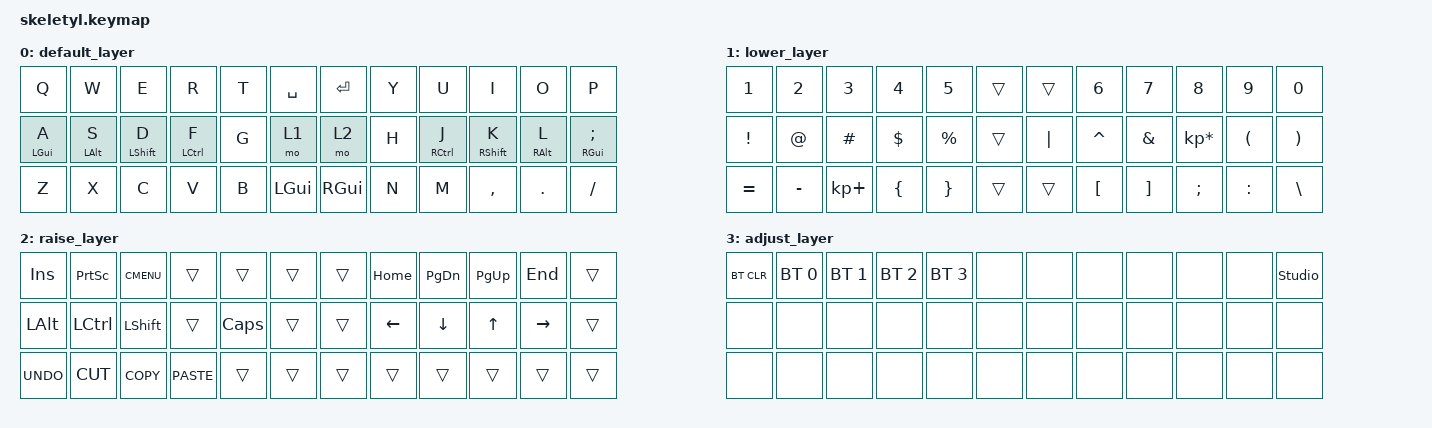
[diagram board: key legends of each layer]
/*
 * Copyright (c) 2020 The ZMK Contributors
 *
 * SPDX-License-Identifier: MIT
 */

#include <behaviors.dtsi>
#include <dt-bindings/zmk/keys.h>
#include <dt-bindings/zmk/bt.h>

/ {
        keymap {
                compatible = "zmk,keymap";

                default_layer {

                        bindings = <
                                &kp Q      &kp W      &kp E       &kp R       &kp T &kp SPACE   /**/    &kp ENTER &kp Y &kp U       &kp I       &kp O      &kp P   
                                &mt LGUI A &mt LALT S &mt LSHFT D &mt LCTRL F &kp G &mo 1       /**/    &mo 2     &kp H &mt RCTRL J &mt RSHFT K &mt RALT L &mt RGUI SEMI
                                &kp Z      &kp X      &kp C       &kp V       &kp B &kp LGUI    /**/    &kp RGUI  &kp N &kp M       &kp COMMA   &kp DOT    &kp FSLH

                        >;
                };
                lower_layer {
                        bindings = <
                                &kp N1    &kp N2    &kp N3      &kp N4   &kp N5    &trans  /**/  &trans   &kp N6    &kp N7   &kp N8          &kp N9    &kp N0    
                                &kp EXCL  &kp AT    &kp HASH    &kp DLLR &kp PRCNT &trans  /**/  &kp PIPE &kp CARET &kp AMPS &kp KP_MULTIPLY &kp LPAR  &kp RPAR
			        &kp EQUAL &kp MINUS &kp KP_PLUS &kp LBRC &kp RBRC  &trans  /**/  &trans   &kp LBKT  &kp RBKT &kp SEMI        &kp COLON &kp BSLH
                        >;
                };

                raise_layer {
                        bindings = <
                                &kp INS    &kp PSCRN &kp K_CMENU  &trans       &trans   &trans  /**/    &trans &kp HOME &kp PG_DN &kp PG_UP &kp END   &trans
                                &kp LALT   &kp LCTRL &kp LSHFT    &trans       &kp CLCK &trans  /**/    &trans &kp LEFT  &kp DOWN &kp UP    &kp RIGHT &trans
                                &kp K_UNDO &kp CUT   &kp K_COPY   &kp K_PASTE  &trans   &trans  /**/    &trans &trans    &trans   &trans    &trans    &trans
                        >;
                };

                adjust_layer {
                        bindings = <
                                &bt BT_CLR &bt BT_SEL 0 &bt BT_SEL 1 &bt BT_SEL 2 &bt BT_SEL 3 &none   /**/    &none &none &none &none &none &studio_unlock
                                &none      &none        &none        &none        &none        &none   /**/    &none &none &none &none &none &none
                                &none      &none        &none        &none        &none        &none   /**/    &none &none &none &none &none &none
                        >;
                }
        };
};
